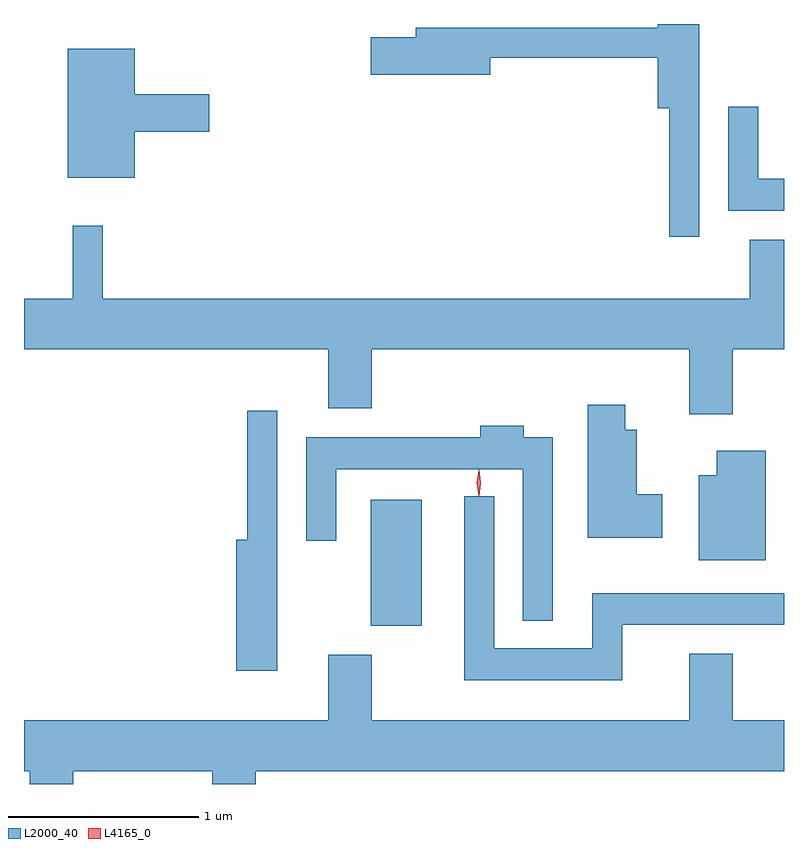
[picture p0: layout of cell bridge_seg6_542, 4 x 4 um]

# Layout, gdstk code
import gdstk
lib = gdstk.Library(unit=1e-6, precision=1e-09)
def R(c, l, rs):  # rectangles x0, y0, x1, y1
    for r in rs: c.add(gdstk.rectangle(r[:2], r[2:], *l))
def P(c, l, *ps):  # polygons
    for p in ps: c.add(gdstk.Polygon(p, *l))
L2000_40 = (2000, 40)
L4165_0 = (4165, 0)

bridge_seg6_542 = lib.new_cell('bridge_seg6_542')
R(bridge_seg6_542, L2000_40, [(500.906,1648.481,501.174,1649.144)])
P(bridge_seg6_542, L2000_40, [(502.634,1651.649),(502.416,1651.649),(502.416,1651.629),(501.141,1651.629),(501.141,1651.579),(500.906,1651.579),(500.906,1651.381),(501.534,1651.381),(501.534,1651.471),(502.416,1651.471),(502.416,1651.206),(502.476,1651.206),(502.476,1650.528),(502.634,1650.528)],
  [(499.664,1651.081),(500.054,1651.081),(500.054,1651.279),(499.664,1651.279),(499.664,1651.519),(499.311,1651.519),(499.311,1650.841),(499.664,1650.841)],
  [(503.08,1650.834),(502.944,1650.834),(502.944,1651.213),(502.786,1651.213),(502.786,1650.666),(503.08,1650.666)],
  [(502.809,1649.936),(503.08,1649.936),(503.08,1650.514),(502.901,1650.514),(502.901,1650.204),(499.494,1650.204),(499.494,1650.588),(499.336,1650.588),(499.336,1650.204),(499.08,1650.204),(499.08,1649.936),(500.681,1649.936),(500.681,1649.626),(500.909,1649.626),(500.909,1649.936),(502.581,1649.936),(502.581,1649.596),(502.809,1649.596)],
  [(502.439,1649.174),(502.304,1649.174),(502.304,1649.514),(502.244,1649.514),(502.244,1649.644),(502.046,1649.644),(502.046,1648.946),(502.439,1648.946)],
  [(500.414,1649.613),(500.256,1649.613),(500.256,1648.934),(500.196,1648.934),(500.196,1648.246),(500.414,1648.246)],
  [(501.864,1649.474),(501.709,1649.474),(501.709,1649.534),(501.481,1649.534),(501.481,1649.474),(500.566,1649.474),(500.566,1648.928),(500.724,1648.928),(500.724,1649.306),(501.706,1649.306),(501.706,1648.508),(501.864,1648.508)],
  [(502.984,1649.404),(502.726,1649.404),(502.726,1649.274),(502.631,1649.274),(502.631,1648.826),(502.984,1648.826)],
  [(502.229,1648.486),(503.08,1648.486),(503.08,1648.654),(502.071,1648.654),(502.071,1648.364),(501.554,1648.364),(501.554,1649.163),(501.396,1649.163),(501.396,1648.196),(502.229,1648.196)],
  [(499.339,1647.716),(500.071,1647.716),(500.071,1647.649),(500.299,1647.649),(500.299,1647.716),(503.08,1647.716),(503.08,1647.984),(502.809,1647.984),(502.809,1648.334),(502.581,1648.334),(502.581,1647.984),(500.909,1647.984),(500.909,1648.329),(500.681,1648.329),(500.681,1647.984),(499.08,1647.984),(499.08,1647.716),(499.111,1647.716),(499.111,1647.649),(499.339,1647.649)])
P(bridge_seg6_542, L4165_0, [(501.474,1649.164),(501.465,1649.233),(501.474,1649.302),(501.475,1649.303),(501.475,1649.302),(501.485,1649.233),(501.475,1649.164),(501.475,1649.164)],
  [(501.474,1649.167),(501.474,1649.167),(501.464,1649.234),(501.474,1649.3),(501.474,1649.3),(501.475,1649.3),(501.484,1649.234),(501.475,1649.167)])

lib.write_gds('bridge_seg6_542.gds')
